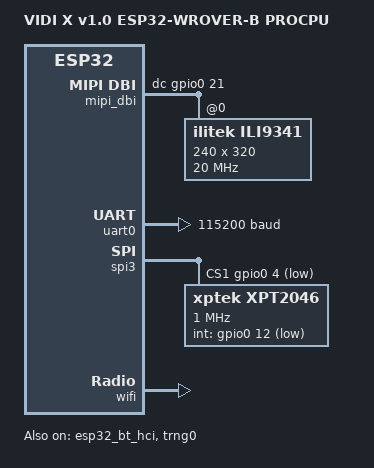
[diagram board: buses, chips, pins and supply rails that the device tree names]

/*
 * Copyright (c) 2023-2025 Espressif Systems (Shanghai) Co., Ltd.
 * SPDX-FileCopyrightText: 2026 Dejan R.
 * SPDX-License-Identifier: Apache-2.0
 *
 * VIDI X v1.0 board definition.
 * Adapted from Zephyr's ESP32-DevKitC PROCPU board support.
 *
 * Tested:
 * - ILI9341 TFT display
 * - XPT2046 touchscreen
 * - LVGL 9
 *
 * Hardware configuration:
 * - VSPI_CS0: GAME USE
 * - D/C_LCD: GAME USE
 * - VSPI_CS2: GAME USE
 * - TOUCH_IRQ: USE EXP during reset/boot
 *
 * Known limitation:
 * GPIO12 is an ESP32 strapping pin. Connecting the
 * touchscreen IRQ during reset may prevent booting.
 *
 * Flash and PSRAM configurations require further validation.
 */


/dts-v1/;
#include <espressif/esp32/esp32_wrover_e_n4r8.dtsi>
#include <espressif/partitions_0x1000_amp.dtsi>
#include <zephyr/dt-bindings/gpio/gpio.h>
#include <zephyr/dt-bindings/display/panel.h>
#include "vidi_x-pinctrl.dtsi"

/ {
    model = "VIDI X v1.0 ESP32-WROVER-B PROCPU";
    compatible = "espressif,esp32";

    aliases {
        uart-0 = &uart0;
        watchdog0 = &wdt0;
    };

    chosen {
        zephyr,sram = &sram1;
        zephyr,console = &uart0;
        zephyr,shell-uart = &uart0;
        zephyr,flash = &flash0;
        zephyr,code-partition = &slot0_partition;
        zephyr,display = &ili9341;
        zephyr,touch = &xpt2046;
        zephyr,bt-hci = &esp32_bt_hci;
    };

    lvgl_pointer {
        compatible = "zephyr,lvgl-pointer-input";
        input = <&xpt2046>;
    };

    mipi_dbi {
        compatible = "zephyr,mipi-dbi-spi";
        spi-dev = <&spi3>;
        dc-gpios = <&gpio0 21 GPIO_ACTIVE_HIGH>;

        /* No GPIO22 LCD reset: on VIDI X this line serves other hardware. */
        #address-cells = <1>;
        #size-cells = <0>;

        ili9341: ili9341@0 {
            compatible = "ilitek,ili9341";
            reg = <0>;
            mipi-max-frequency = <20000000>;
            mipi-mode = "MIPI_DBI_MODE_SPI_4WIRE";
            width = <240>;
            height = <320>;
            rotation = <270>;
            h-mirror;
            pixel-format = <PANEL_PIXEL_FORMAT_RGB_565>;
        };
    };
};

&gpio0 { status = "okay"; };
&gpio1 { status = "okay"; };

&uart0 {
    status = "okay";
    current-speed = <115200>;
    pinctrl-0 = <&uart0_default>;
    pinctrl-names = "default";
};

&i2c0 { status = "disabled"; };

&spi3 {
    status = "okay";
    #address-cells = <1>;
    #size-cells = <0>;
    pinctrl-0 = <&vidi_x_spim3_default>;
    pinctrl-names = "default";

    /* CS0: LCD at GPIO5; CS1: touch at GPIO4. */
    cs-gpios = <&gpio0 5 GPIO_ACTIVE_LOW>,
               <&gpio0 4 GPIO_ACTIVE_LOW>;

    xpt2046: xpt2046@1 {
        compatible = "xptek,xpt2046";
        reg = <1>;
        spi-max-frequency = <1000000>;
        /* Original onboard IRQ on GPIO12 (a strapping pin). */
        int-gpios = <&gpio0 12 (GPIO_PULL_UP | GPIO_ACTIVE_LOW)>;
        touchscreen-size-x = <240>;
        touchscreen-size-y = <320>;
        min-x = <0>;
        min-y = <0>;
        max-x = <4000>;
        max-y = <4000>;
    };
};

&esp32_bt_hci { status = "okay"; };
&wifi { status = "okay"; };
&trng0 { status = "okay"; };
